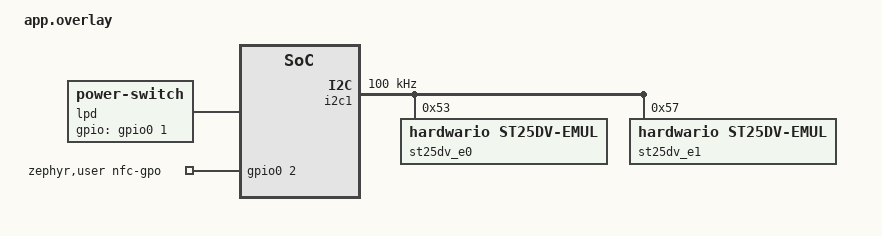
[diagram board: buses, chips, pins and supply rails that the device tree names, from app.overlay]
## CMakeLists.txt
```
# Copyright (c) 2026 HARDWARIO a.s.
# SPDX-License-Identifier: Apache-2.0

cmake_minimum_required(VERSION 3.20.0)

# NOTE: do not call this variable APP_DIR — find_package(Zephyr) below
# overwrites APP_DIR with APPLICATION_SOURCE_DIR internally (cmake/modules/
# kconfig.cmake's zephyr_get(APP_DIR ...)), silently clobbering it.
set(APP_SRC_DIR ${CMAKE_CURRENT_SOURCE_DIR}/../../app)

# Scoped custom devicetree binding for the ST25DV i2c_emul model (dts/bindings/
# under this test dir only — not the repo-wide dts/bindings/, since this
# compatible only exists for this test's emulated hardware).
list(APPEND DTS_ROOT ${CMAKE_CURRENT_SOURCE_DIR})

# app_nfc.c BUILD_ASSERTs on CONFIG_APP_NFC_ENCRYPTION (or CONFIG_FW_DEBUG) —
# both live in app/Kconfig, which no other test needs and which this
# directory's own (nonexistent) Kconfig wouldn't provide by default. Reuse the
# real app's Kconfig root outright instead of duplicating its symbols.
set(KCONFIG_ROOT ${APP_SRC_DIR}/Kconfig)

find_package(Zephyr REQUIRED HINTS $ENV{ZEPHYR_BASE})
project(test_app_nfc_hw)
set(SOFT_SE_DIR $ENV{ZEPHYR_BASE}/../modules/lib/loramac-node/src/peripherals/soft-se)

list(APPEND CMAKE_MODULE_PATH $ENV{ZEPHYR_BASE}/modules/nanopb)
include(nanopb)
set(NANOPB_GENERATE_CPP_STANDALONE OFF)
nanopb_generate_cpp(proto_srcs proto_hdrs RELPATH ${APP_SRC_DIR}
  ${APP_SRC_DIR}/src/app_config.proto)

target_include_directories(app PRIVATE ${CMAKE_CURRENT_BINARY_DIR} ${APP_SRC_DIR}/src ${SOFT_SE_DIR})
target_sources(app PRIVATE
  ${proto_srcs}
  ${APP_SRC_DIR}/src/app_nfc.c
  ${APP_SRC_DIR}/src/app_ccm.c          # real AES-CCM (proven standalone in tests/ccm)
  ${SOFT_SE_DIR}/aes.c
  ${APP_SRC_DIR}/src/app_cmd.c          # real command dispatch (proven standalone in tests/cmd)
  ${APP_SRC_DIR}/src/app_config_ingest.c
  src/emul_st25dv.c
  src/main.c
  src/stubs.c
)
set_source_files_properties(${APP_SRC_DIR}/src/app_ccm.c ${SOFT_SE_DIR}/aes.c
  PROPERTIES COMPILE_DEFINITIONS "AES_ENC_PREKEYED")
```

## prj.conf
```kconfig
CONFIG_ZTEST=y
CONFIG_LOG=y
CONFIG_LOG_MODE_MINIMAL=y
CONFIG_NANOPB=y

# Exercise the production default (encrypted NFC command channel) rather than
# the CONFIG_FW_DEBUG plaintext escape hatch.
CONFIG_APP_NFC_ENCRYPTION=y

# ST25DV i2c_emul model + GPO/LPD gpio_emul (native_sim's built-in gpio0).
CONFIG_I2C=y
CONFIG_GPIO=y
CONFIG_EMUL=y

# Settings backend for the clm/state subtree (app_nfc_init/nfc_check_locked) —
# no-op storage is enough for the first slice of tests (RAM-only assertions);
# upgrade to a flash-simulator-backed NVS partition (see tests/history_flash)
# once a test needs persistence to survive an app_nfc_init() "reboot".
CONFIG_SETTINGS=y
CONFIG_SETTINGS_NONE=y

# Same PSA/mbedTLS AES-CCM backend app_ccm.c falls back to off-target (app/prj.conf,
# tests/nfc_crypto/prj.conf) — APP_NFC_ENCRYPTION defaults on, APP_NFC_ENCRYPTION_HW
# needs SOC_SERIES_STM32WLX so it never selects here.
CONFIG_MBEDTLS=y
CONFIG_MBEDTLS_PSA_CRYPTO_C=y
CONFIG_PSA_WANT_KEY_TYPE_AES=y
CONFIG_PSA_WANT_ALG_CCM=y
CONFIG_MBEDTLS_ENABLE_HEAP=y
CONFIG_MBEDTLS_HEAP_SIZE=16384
CONFIG_TEST_RANDOM_GENERATOR=y

# Debug-only `nfc read|write|clear` EEPROM bench commands (app_nfc.c, CONFIG_SHELL)
# driven through the dummy shell backend.
CONFIG_SHELL=y
CONFIG_SHELL_BACKEND_DUMMY=y
CONFIG_SHELL_BACKEND_SERIAL=n
```

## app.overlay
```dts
/* Emulated hardware for app_nfc.c's ST25DV (NFC tag EEPROM/registers over I2C,
 * plus the LPD power-switch pin and the GPO interrupt pin). Two devicetree
 * "instances" of the same st25dv-emul compatible model one physical chip
 * answering at two I2C addresses (E0=0x53 memory+dynamic regs, E1=0x57 static
 * system regs) — see tests/nfc_hw/src/emul_st25dv.c for why they share one
 * global model instead of per-instance data. lpd/nfc_gpo reuse native_sim's
 * built-in gpio0 (zephyr,gpio-emul) on two otherwise-unused pins. */

#include <zephyr/dt-bindings/i2c/i2c.h>
#include <zephyr/dt-bindings/gpio/gpio.h>

/ {
	i2c1: i2c@1000 {
		status = "okay";
		compatible = "zephyr,i2c-emul-controller";
		clock-frequency = <I2C_BITRATE_STANDARD>;
		#address-cells = <1>;
		#size-cells = <0>;
		reg = <0x1000 4>;

		st25dv_e0: st25dv-e0@53 {
			compatible = "hardwario,st25dv-emul";
			reg = <0x53>;
			status = "okay";
		};

		st25dv_e1: st25dv-e1@57 {
			compatible = "hardwario,st25dv-emul";
			reg = <0x57>;
			status = "okay";
		};
	};

	lpd: lpd {
		compatible = "power-switch";
		gpios = <&gpio0 1 GPIO_ACTIVE_HIGH>;
	};

	zephyr,user {
		nfc-gpo-gpios = <&gpio0 2 GPIO_ACTIVE_HIGH>;
	};
};
```

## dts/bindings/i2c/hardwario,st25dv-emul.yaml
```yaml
# Copyright (c) 2026 HARDWARIO a.s.
# SPDX-License-Identifier: Apache-2.0

description: |
  i2c_emul model of the ST25DV NFC tag chip (test-only, see
  tests/nfc_hw/src/emul_st25dv.c). One instance is declared per I2C address
  the real chip answers on (E0=0x53, E1=0x57); both share one C-level model.

compatible: "hardwario,st25dv-emul"

include: base.yaml
```

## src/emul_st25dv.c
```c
/*
 * Copyright (c) 2026 HARDWARIO a.s.
 * SPDX-License-Identifier: Apache-2.0
 *
 * i2c_emul model of the ST25DV NFC tag chip app_nfc.c talks to directly (no
 * separate Zephyr driver exists for it — app_nfc.c does raw i2c_write_read()/
 * i2c_write() itself, see read_mem()/write_mem()/read_reg()/write_reg()).
 *
 * One physical chip answers on TWO I2C addresses: E0 (0x53, EEPROM memory +
 * dynamic registers, reg >= 0x2000) and E1 (0x57, static system registers,
 * reg < 0x2000) — app_nfc.c's reg_dev_addr() picks the address purely from the
 * register value. Both addresses are registered as separate devicetree nodes
 * (each needs its own struct emul per the i2c_emul framework), but they share
 * ONE global model here (`m_model`, file-scope static) instead of per-instance
 * data, since there is exactly one chip being emulated regardless of how many
 * addresses represent it.
 */

#define DT_DRV_COMPAT hardwario_st25dv_emul

#include "emul_st25dv.h"

#include <zephyr/device.h>
#include <zephyr/devicetree.h>
#include <zephyr/drivers/emul.h>
#include <zephyr/drivers/i2c.h>
#include <zephyr/drivers/i2c_emul.h>
#include <zephyr/kernel.h>

#include <errno.h>
#include <string.h>

#define ST25DV_I2C_ADDR_E0 0x53
#define ST25DV_I2C_ADDR_E1 0x57

/* Dynamic registers (E0, reg >= 0x2000) app_nfc.c actually reads/writes. */
#define ST25DV_GPO_CTRL_DYN_REG 0x2000
#define ST25DV_EH_CTRL_DYN      0x2002
#define ST25DV_IT_STS_DYN       0x2005
#define ST25DV_FIELD_ON         0x04
#define ST25DV_IT_RF_WRITE      0x80

/* Static registers (E1, reg < 0x2000). */
#define ST25DV_GPO_REG     0x0000
#define ST25DV_MB_MODE_REG 0x000D
#define ST25DV_I2C_PWD_REG 0x0900
#define ST25DV_MB_MODE_EN  0x01

/* FTM mailbox (E0, dynamic). */
#define ST25DV_MB_CTRL_DYN      0x2006
#define ST25DV_MB_LEN_DYN       0x2007
#define ST25DV_MB_RAM           0x2008
#define ST25DV_MB_RAM_END       0x2108 /* one past the last mailbox byte */
#define ST25DV_MB_RAM_SIZE      256
#define ST25DV_MB_CTRL_MB_EN    0x01
#define ST25DV_MB_CTRL_HOST_PUT 0x02
#define ST25DV_MB_CTRL_RF_PUT   0x04

struct st25dv_model {
	uint8_t mem[ST25DV_EMUL_MEM_SIZE];
	uint8_t gpo_ctrl_dyn;
	uint8_t eh_ctrl_dyn;
	uint8_t it_sts_dyn;
	uint8_t gpo_reg;
	uint8_t mb_mode;
	uint8_t mb_ctrl;
	uint8_t mb_len; /* message length - 1 */
	uint8_t mb_ram[ST25DV_MB_RAM_SIZE];
	bool pwd_fail;
	int write_fail_remaining;
};

static struct st25dv_model m_model;

void st25dv_emul_reset(void)
{
	memset(&m_model, 0, sizeof(m_model));
}

void st25dv_emul_mem_get(uint8_t *out, size_t offset, size_t len)
{
	__ASSERT_NO_MSG(offset + len <= sizeof(m_model.mem));
	memcpy(out, &m_model.mem[offset], len);
}

void st25dv_emul_mem_set(const uint8_t *data, size_t offset, size_t len)
{
	__ASSERT_NO_MSG(offset + len <= sizeof(m_model.mem));
	memcpy(&m_model.mem[offset], data, len);
}

void st25dv_emul_set_field_on(bool on)
{
	if (on) {
		m_model.eh_ctrl_dyn |= ST25DV_FIELD_ON;
	} else {
		m_model.eh_ctrl_dyn &= ~ST25DV_FIELD_ON;
	}
}

void st25dv_emul_inject_write_fail(int count)
{
	m_model.write_fail_remaining = count;
}

bool st25dv_emul_mb_mode(void)
{
	return m_model.mb_mode & ST25DV_MB_MODE_EN;
}

uint8_t st25dv_emul_mb_ctrl(void)
{
	return m_model.mb_ctrl;
}

uint8_t st25dv_emul_gpo_reg(void)
{
	return m_model.gpo_reg;
}

void st25dv_emul_set_pwd_fail(bool fail)
{
	m_model.pwd_fail = fail;
}

void st25dv_emul_rf_set_mb_en(bool on)
{
	if (on) {
		/* MB_EN is RF-writable only once MB_MODE authorises FTM. */
		if (m_model.mb_mode & ST25DV_MB_MODE_EN) {
			m_model.mb_ctrl |= ST25DV_MB_CTRL_MB_EN;
		}
	} else {
		m_model.mb_ctrl &=
			~(ST25DV_MB_CTRL_MB_EN | ST25DV_MB_CTRL_HOST_PUT | ST25DV_MB_CTRL_RF_PUT);
	}
}

int st25dv_emul_rf_put_message(const uint8_t *msg, size_t len)
{
	if (!(m_model.mb_ctrl & ST25DV_MB_CTRL_MB_EN)) {
		return -EACCES;
	}
	if (len == 0 || len > ST25DV_MB_RAM_SIZE) {
		return -EMSGSIZE;
	}
	/* Mailbox must be free (no unread message either way). */
	if (m_model.mb_ctrl & (ST25DV_MB_CTRL_HOST_PUT | ST25DV_MB_CTRL_RF_PUT)) {
		return -EBUSY;
	}
	memcpy(m_model.mb_ram, msg, len);
	m_model.mb_len = (uint8_t)(len - 1);
	m_model.mb_ctrl |= ST25DV_MB_CTRL_RF_PUT;
	return 0;
}

int st25dv_emul_rf_read_message(uint8_t *out, size_t cap, size_t *len)
{
	if (!(m_model.mb_ctrl & ST25DV_MB_CTRL_HOST_PUT)) {
		return -EAGAIN;
	}
	size_t n = (size_t)m_model.mb_len + 1;

	if (n > cap) {
		return -EMSGSIZE;
	}
	memcpy(out, m_model.mb_ram, n);
	*len = n;
	/* RF read of the last byte frees the mailbox for the I2C host. */
	m_model.mb_ctrl &= ~ST25DV_MB_CTRL_HOST_PUT;
	return 0;
}

/* One dynamic/static register byte, addressed generically — every register
 * app_nfc.c touches today is a single byte wide (GPO_REG, GPO_CTRL_DYN_REG,
 * EH_CTRL_DYN, IT_STS_DYN). Extend here if a future fix reads a new one. */
static uint8_t *reg_slot(uint16_t reg)
{
	switch (reg) {
	case ST25DV_GPO_CTRL_DYN_REG:
		return &m_model.gpo_ctrl_dyn;
	case ST25DV_EH_CTRL_DYN:
		return &m_model.eh_ctrl_dyn;
	case ST25DV_IT_STS_DYN:
		return &m_model.it_sts_dyn;
	case ST25DV_GPO_REG:
		return &m_model.gpo_reg;
	case ST25DV_MB_MODE_REG:
		return &m_model.mb_mode;
	case ST25DV_MB_CTRL_DYN:
		return &m_model.mb_ctrl;
	case ST25DV_MB_LEN_DYN:
		return &m_model.mb_len;
	default:
		return NULL;
	}
}

/* E0 (memory + dynamic regs) treats reg < 0x2000 as an EEPROM offset and
 * reg >= 0x2000 as a dynamic register; E1 (static regs) is ALWAYS a register
 * lookup regardless of the reg value — reg 0x0000 on E1 (GPO_REG) must not be
 * confused with EEPROM offset 0, which only exists on E0. */
static int st25dv_do_write(int addr, uint16_t reg, const uint8_t *data, size_t len)
{
	if (addr == ST25DV_I2C_ADDR_E1 && reg == ST25DV_I2C_PWD_REG) {
		/* nfc_present_password(): a unit with an unknown I2C password NACKs it
		 * (st25dv_emul_set_pwd_fail) — app_nfc.c then cannot authorise FTM. */
		return m_model.pwd_fail ? -EIO : 0;
	}

	/* A static-config write (E1, e.g. MB_MODE / GPO) needs the password session;
	 * model that by failing it too when the password NACKs. */
	if (addr == ST25DV_I2C_ADDR_E1 && reg < 0x2000 && m_model.pwd_fail) {
		return -EIO;
	}

	/* DS10925 §5.1.2: with FTM enabled every EEPROM write (user or system) is
	 * refused by the chip. The mailbox RAM (reg >= 0x2008) is exempt. */
	if ((m_model.mb_ctrl & ST25DV_MB_CTRL_MB_EN) &&
	    ((addr == ST25DV_I2C_ADDR_E0 && reg < 0x2000) || (addr == ST25DV_I2C_ADDR_E1))) {
		return -EIO;
	}

	if (addr == ST25DV_I2C_ADDR_E0 && reg < 0x2000) {
		/* EEPROM memory write (write_mem()'s actual tag-content path). */
		if (m_model.write_fail_remaining > 0) {
			m_model.write_fail_remaining--;
			return -EIO;
		}
		if (reg + len > sizeof(m_model.mem)) {
			return -EIO;
		}
		memcpy(&m_model.mem[reg], data, len);
		return 0;
	}

	/* Mailbox RAM write (mb_write_msg): one transaction starting at 0x2008; the
	 * chip sets HOST_PUT_MSG + MB_LEN_Dyn at the STOP condition. */
	if (addr == ST25DV_I2C_ADDR_E0 && reg >= ST25DV_MB_RAM && reg < ST25DV_MB_RAM_END) {
		if (reg != ST25DV_MB_RAM || len == 0 || len > ST25DV_MB_RAM_SIZE) {
			return -EIO;
		}
		memcpy(m_model.mb_ram, data, len);
		m_model.mb_len = (uint8_t)(len - 1);
		m_model.mb_ctrl |= ST25DV_MB_CTRL_HOST_PUT;
		return 0;
	}

	/* MB_CTRL_Dyn: I2C may write only MB_EN (bit0); the rest is read-only. */
	if (addr == ST25DV_I2C_ADDR_E0 && reg == ST25DV_MB_CTRL_DYN) {
		if (len != 1) {
			return -EIO;
		}
		if (data[0] & ST25DV_MB_CTRL_MB_EN) {
			if (!(m_model.mb_mode & ST25DV_MB_MODE_EN)) {
				return -EIO; /* FTM not authorised */
			}
			m_model.mb_ctrl |= ST25DV_MB_CTRL_MB_EN;
		} else {
			m_model.mb_ctrl &= ~(ST25DV_MB_CTRL_MB_EN | ST25DV_MB_CTRL_HOST_PUT |
					     ST25DV_MB_CTRL_RF_PUT);
		}
		return 0;
	}

	/* Register write (write_reg()): E0 dynamic (reg >= 0x2000) or E1 static. */
	uint8_t *slot = reg_slot(reg);

	if (!slot || len != 1) {
		return -EIO;
	}
	*slot = data[0];
	return 0;
}

static int st25dv_do_read(int addr, uint16_t reg, uint8_t *out, size_t len)
{
	if (addr == ST25DV_I2C_ADDR_E0 && reg < 0x2000) {
		if (reg + len > sizeof(m_model.mem)) {
			return -EIO;
		}
		memcpy(out, &m_model.mem[reg], len);
		return 0;
	}

	/* Mailbox RAM read (mb_read_msg): reading through the last byte of the RF
	 * message frees the mailbox (clears RF_PUT_MSG). */
	if (addr == ST25DV_I2C_ADDR_E0 && reg >= ST25DV_MB_RAM && reg < ST25DV_MB_RAM_END) {
		size_t off = reg - ST25DV_MB_RAM;

		if (off + len > ST25DV_MB_RAM_SIZE) {
			return -EIO;
		}
		memcpy(out, &m_model.mb_ram[off], len);
		if ((m_model.mb_ctrl & ST25DV_MB_CTRL_RF_PUT) &&
		    off + len > (size_t)m_model.mb_len) {
			m_model.mb_ctrl &= ~ST25DV_MB_CTRL_RF_PUT;
		}
		return 0;
	}

	uint8_t *slot = reg_slot(reg);

	if (!slot || len != 1) {
		return -EIO;
	}
	out[0] = *slot;
	return 0;
}

/* app_nfc.c's wire shape:
 *   write:                      msgs[0] = [reg_hi, reg_lo, data...]   (1 msg)
 *   read (write+read restart):  msgs[0] = [reg_hi, reg_lo], msgs[1] = read buf (2 msgs)
 */
static int st25dv_transfer(const struct emul *target, struct i2c_msg *msgs, int num_msgs, int addr)
{
	ARG_UNUSED(target);

	if (num_msgs < 1 || msgs[0].len < 2) {
		return -EIO;
	}

	uint16_t reg = ((uint16_t)msgs[0].buf[0] << 8) | msgs[0].buf[1];

	if (num_msgs == 1) {
		return st25dv_do_write(addr, reg, &msgs[0].buf[2], msgs[0].len - 2);
	}
	if (num_msgs == 2) {
		return st25dv_do_read(addr, reg, msgs[1].buf, msgs[1].len);
	}
	return -EIO;
}

static const struct i2c_emul_api st25dv_emul_api = {
	.transfer = st25dv_transfer,
};

static int st25dv_emul_init(const struct emul *target, const struct device *parent)
{
	ARG_UNUSED(target);
	ARG_UNUSED(parent);
	return 0;
}

/* Trivial device front-end: nothing in app_nfc.c ever calls DEVICE_DT_GET() on
 * the ST25DV node itself (it only talks to the i2c1 BUS device) — this exists
 * purely because EMUL_DT_DEFINE requires a matching real device at the same
 * node (`.dev = DEVICE_DT_GET(node_id)`). */
static int st25dv_dev_init(const struct device *dev)
{
	ARG_UNUSED(dev);
	return 0;
}

#define ST25DV_EMUL_DEFINE(n)                                                                      \
	DEVICE_DT_INST_DEFINE(n, st25dv_dev_init, NULL, NULL, NULL, POST_KERNEL,                   \
			      CONFIG_I2C_INIT_PRIORITY, NULL);                                     \
	EMUL_DT_INST_DEFINE(n, st25dv_emul_init, NULL, NULL, &st25dv_emul_api, NULL)

DT_INST_FOREACH_STATUS_OKAY(ST25DV_EMUL_DEFINE)
```

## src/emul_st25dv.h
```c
/*
 * Copyright (c) 2026 HARDWARIO a.s.
 * SPDX-License-Identifier: Apache-2.0
 *
 * Test-facing control surface for the ST25DV i2c_emul model (emul_st25dv.c).
 * Lets a ztest drive the emulated tag's EEPROM/register state directly and
 * inject the specific failure modes app_nfc.c's fixes (M3/M15 arm-before-write,
 * vendor-transport clm gating) need to be exercised against.
 */
#ifndef EMUL_ST25DV_H_
#define EMUL_ST25DV_H_

#include <stdbool.h>
#include <stddef.h>
#include <stdint.h>

#define ST25DV_EMUL_MEM_SIZE 512

/* Reset the whole model to power-on defaults: EEPROM zeroed, field off,
 * no pending RF-write flag, no injected failures. */
void st25dv_emul_reset(void);

/* Direct EEPROM peek/poke, bypassing the I2C transfer path entirely — for
 * asserting what app_nfc.c actually wrote, or seeding a "tag already holds
 * this content" precondition without going through write_mem() first. */
void st25dv_emul_mem_get(uint8_t *out, size_t offset, size_t len);
void st25dv_emul_mem_set(const uint8_t *data, size_t offset, size_t len);

/* Simulate the RF field being up (nfc_wait_field_off() spins) or down
 * (default; I2C proceeds immediately). */
void st25dv_emul_set_field_on(bool on);

/* Make the NEXT `count` I2C writes to the EEPROM memory range (reg < 0x2000,
 * i.e. write_mem()'s actual tag-content writes — not register pokes like the
 * GPO setup at init) fail with -EIO, simulating an RF collision / I2C error
 * mid-write. Register writes and reads are never affected. */
void st25dv_emul_inject_write_fail(int count);

/* ---- ST25DV Fast-Transfer-Mode mailbox (#313) --------------------------------
 * The dual-port mailbox: RF and I2C exchange 256 B messages while the field is
 * on. The RF helpers below stand in for the phone; the I2C side is app_nfc.c's
 * mb_* functions going through the normal transfer path. */

/* MB_MODE authorised (static bit set at boot), MB_CTRL_Dyn, GPO static reg — for
 * asserting boot configuration. */
bool st25dv_emul_mb_mode(void);
uint8_t st25dv_emul_mb_ctrl(void);
uint8_t st25dv_emul_gpo_reg(void);

/* Make the password write (nfc_present_password) and the static-config writes it
 * guards fail, so app_nfc.c cannot authorise FTM — models a unit whose MB_MODE
 * cannot be set (a production defect the tester must catch). */
void st25dv_emul_set_pwd_fail(bool fail);

/* RF side (the phone): enable/disable the mailbox (MB_EN, RF-writable), put a
 * message the I2C host will read (sets RF_PUT_MSG), and read back the reply the
 * I2C host wrote (clears HOST_PUT_MSG). _rf_read_message returns -EAGAIN when no
 * host reply is waiting, -EMSGSIZE if it will not fit `cap`. */
void st25dv_emul_rf_set_mb_en(bool on);
int st25dv_emul_rf_put_message(const uint8_t *msg, size_t len);
int st25dv_emul_rf_read_message(uint8_t *out, size_t cap, size_t *len);

#endif /* EMUL_ST25DV_H_ */
```

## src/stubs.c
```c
/*
 * Copyright (c) 2026 HARDWARIO a.s.
 * SPDX-License-Identifier: Apache-2.0
 *
 * Fixtures + stubs for the app_nfc_hw test. The real app_nfc.c,
 * app_ccm.c, and app_cmd.c (+ app_config_ingest.c) are linked; everything else
 * they reach is stubbed here — largely mirroring tests/cmd/src/stubs.c (app_cmd's
 * own dependency set), minus the app_nfc stubs it needs (real app_nfc.c is linked
 * here instead), plus the handful of things ONLY app_nfc.c itself calls
 * (app_led_set, the app_settings_* reset/save ladder).
 */

#include "app_alarm.h"
#include "app_alarm_rules.h"
#include "app_buzzer.h"
#include "app_config.h"
#include "app_counters.h"
#include "app_history.h"
#include "app_led.h"
#include "app_radio.h"
#include "app_radio_lrw.h"
#include "app_sensor.h"
#include "app_settings.h"

#include "src/app_config.pb.h"

#include <zephyr/kernel.h>
#include <zephyr/sys/reboot.h>
#include <zephyr/ztest.h>

#include <math.h>
#include <stdbool.h>
#include <stddef.h>
#include <stdint.h>
#include <string.h>

/* Config under test — seeded per test; app_config_ingest/app_nfc write through
 * here. app_config() and g_app_config share one struct (a test simplification
 * of the real m_app_config/g_app_config split in app_config.c). */
struct app_config g_app_config;

struct app_config *app_config(void)
{
	return &g_app_config;
}

/* #340 M27: app_cmd_handle_set_param() takes the real app_config_lock()/
 * _unlock() (shared with app_config.c's reset ops) instead of its own local
 * mutex — stub it here since the real app_config.c isn't linked (mirrors
 * tests/cmd/src/stubs.c). */
static K_MUTEX_DEFINE(m_app_config_lock);

void app_config_lock(void)
{
	k_mutex_lock(&m_app_config_lock, K_FOREVER);
}

void app_config_unlock(void)
{
	k_mutex_unlock(&m_app_config_lock);
}

/* Sensor sampling + telemetry snapshot (sample command via app_cmd). */
void app_sensor_sample(void)
{
}

void app_compose_snapshot(Telemetry *out)
{
	if (!out) {
		return;
	}
	*out = (Telemetry)Telemetry_init_zero;
	out->has_voltage = true;
	out->voltage = 165;
	out->has_temperature = true;
	out->temperature = 2345;
}

/* Clock (APP_CMD_HAVE_CLOCK / app_nfc's clock_sync command). */
uint32_t test_clock_unix;
bool test_clock_has;

int app_clock_get_unix(uint32_t *unix_s)
{
	if (!test_clock_has) {
		return -1;
	}
	*unix_s = test_clock_unix;
	return 0;
}

int app_clock_set_unix(uint32_t unix_s)
{
	test_clock_unix = unix_s;
	test_clock_has = true;
	return 0;
}

void app_radio_clock_sync(uint32_t seq)
{
	ARG_UNUSED(seq);
}

/* ReqHistory over a radio: never reached here (every request arrives over NFC). */
int app_radio_history_replay_start(uint32_t from_unix, uint32_t to_unix, uint32_t seq)
{
	ARG_UNUSED(from_unix);
	ARG_UNUSED(to_unix);
	ARG_UNUSED(seq);
	return -EAGAIN;
}

void app_report_force(void)
{
}

/* Battery (GetInfo battery field). */
struct app_sensor_data g_app_sensor_data = {
	.mb = {.v = {[APP_SENSOR_CH_MOTHERBOARD_BATTERY_VOLTAGE] = {.f = NAN}}}};
K_MUTEX_DEFINE(g_app_sensor_data_lock);

int app_battery_measure(float *voltage)
{
	if (voltage) {
		*voltage = 3.3f;
	}
	return 0;
}

/* #338 buzzer_play command — inert, no test here exercises it. */
int app_buzzer_play_repeating(uint32_t kind, uint16_t repeat_s)
{
	(void)kind;
	(void)repeat_s;
	return 0;
}

/* Counters — reset_counters command. */
void app_hall_reset_count(bool left, bool right)
{
	(void)left;
	(void)right;
}

void app_input_reset_count(bool input_a, bool input_b)
{
	(void)input_a;
	(void)input_b;
}

/* History — req_history_page (NFC-only, #260). Empty backend: export writes
 * nothing, next_ord stays at start_ord (has_more false). */
size_t app_history_export_page(uint32_t from_unix, uint32_t to_unix, size_t start_ord, uint8_t *buf,
			       size_t cap, uint32_t *t0_out, bool *synced_out, uint16_t *n_written,
			       size_t *next_ord)
{
	(void)from_unix;
	(void)to_unix;
	(void)buf;
	(void)cap;
	if (t0_out) {
		*t0_out = 0;
	}
	if (synced_out) {
		*synced_out = false;
	}
	if (n_written) {
		*n_written = 0;
	}
	if (next_ord) {
		*next_ord = start_ord;
	}
	return 0;
}

uint16_t app_history_count_frames(uint32_t from_unix, uint32_t to_unix, size_t cap)
{
	(void)from_unix;
	(void)to_unix;
	(void)cap;
	return 0;
}

size_t app_history_count(void)
{
	return 0;
}

void app_history_get_layout(struct app_history_layout *out)
{
	memset(out, 0, sizeof(*out));
}

uint32_t app_history_get_interval(void)
{
	return 0;
}

bool app_history_is_ready(void)
{
	return true;
}

/* Dynamic alarm rules — inert; no test here exercises alarm_rule mutation. */
int app_alarm_rules_set(uint8_t rule_idx, const struct app_alarm_rule *rule)
{
	(void)rule_idx;
	(void)rule;
	return 0;
}

int app_alarm_rules_clear(uint8_t rule)
{
	(void)rule;
	return 0;
}

void app_alarm_rules_clear_all(void)
{
}

int app_alarm_rules_reload_from_config(void)
{
	return 0;
}

bool app_alarm_rules_get(uint8_t rule, struct app_alarm_rule *out)
{
	(void)rule;
	(void)out;
	return false;
}

int app_alarm_rules_stale_count(void)
{
	return 0;
}

uint32_t app_alarm_rules_stale_mask(void)
{
	return 0;
}

uint32_t app_alarm_rules_invalid_mask(void)
{
	return 0;
}

enum app_radio_state app_radio_get_state(void)
{
	return APP_RADIO_STATE_HEALTHY;
}

void app_radio_get_status(struct app_radio_status *st)
{
	*st = (struct app_radio_status){0};
	st->state = app_radio_get_state();
}

uint32_t app_alarm_status_flags(void)
{
	return 0;
}

size_t app_alarm_active_snapshot(struct app_alarm_active *out, size_t max)
{
	(void)out;
	(void)max;
	return 0;
}

bool app_sensor_i2c_wedged(void)
{
	return false;
}

/* LED signalling (app_nfc's nfc_led_* helpers) — no test here asserts on LED
 * channel/state, only that app_nfc.c's calls into it don't crash the link. */
int g_led_set_calls;

/* Last state written per channel (R, G, Y) — the NFC LED tests assert on it. */
int g_led_ch[3];

void app_led_set(enum app_led_channel ch, int state)
{
	if ((int)ch >= 0 && (int)ch < 3) {
		g_led_ch[ch] = state;
	}
	g_led_set_calls++;
}

/* Indicator hold (app_led_hold) as last set by app_nfc.c. */
int g_led_hold;

void app_led_hold(bool hold)
{
	g_led_hold = hold;
}

/* Reset/save ladder — app_nfc.c only reaches these via its deferred-action
 * dispatch (app_nfc_take_cmd_action() consumers), not via anything the first
 * slice of tests here drives. Record calls so a future test can assert on
 * dispatch without needing the real app_settings.c (which pulls in flash_map/
 * NVS/reboot/most other app_* modules). */
int test_settings_save_calls;
int test_settings_device_reset_calls;
int test_settings_factory_reset_calls;
int test_settings_vendor_reset_calls;

int app_settings_save(bool reboot)
{
	(void)reboot;
	test_settings_save_calls++;
	return 0;
}

int app_settings_device_reset(void)
{
	test_settings_device_reset_calls++;
	return 0;
}

int app_settings_factory_reset(void)
{
	test_settings_factory_reset_calls++;
	return 0;
}

int app_settings_vendor_reset(const uint8_t *new_secret_key)
{
	(void)new_secret_key;
	test_settings_vendor_reset_calls++;
	return 0;
}

int app_settings_save_nonce_counter(void)
{
	return 0;
}

/* #460 F3: the rest of what app_cmd_run_action() (app_cmd.c) calls. This suite
 * never runs a deferred action; a reboot would fail it. */
int app_counters_save(bool force)
{
	ARG_UNUSED(force);
	return 0;
}

void app_radio_rejoin(void)
{
}

void app_radio_reset_link(void)
{
}

FUNC_NORETURN void sys_reboot(int type)
{
	printk("unexpected sys_reboot(%d)\n", type);
	ztest_test_fail();
	for (;;) {
		k_sleep(K_FOREVER);
	}
}

/* app_radio's flash/exchange gate: nothing is on air here. */
void app_radio_flash_hold(void)
{
}

void app_radio_flash_release(void)
{
}

/* Event log PoC (req_events): nothing retained in the tests. */
int app_eventlog_request(uint32_t from_unix, uint32_t to_unix)
{
	(void)from_unix;
	(void)to_unix;
	return -ENODATA;
}

int app_eventlog_request_ranges(const uint32_t *pairs, size_t n_pairs)
{
	(void)pairs;
	(void)n_pairs;
	return -ENODATA;
}

int app_eventlog_request_seqs(const uint32_t *seqs, size_t n)
{
	(void)seqs;
	(void)n;
	return -ENODATA;
}

int app_eventlog_export(uint32_t start_seq, uint32_t from_unix, uint32_t to_unix,
			struct app_cmd_alarm_event *ev, size_t max, struct app_eventlog_page *page)
{
	(void)start_seq;
	(void)from_unix;
	(void)to_unix;
	(void)ev;
	(void)max;
	(void)page;
	return -ENODATA;
}
```
